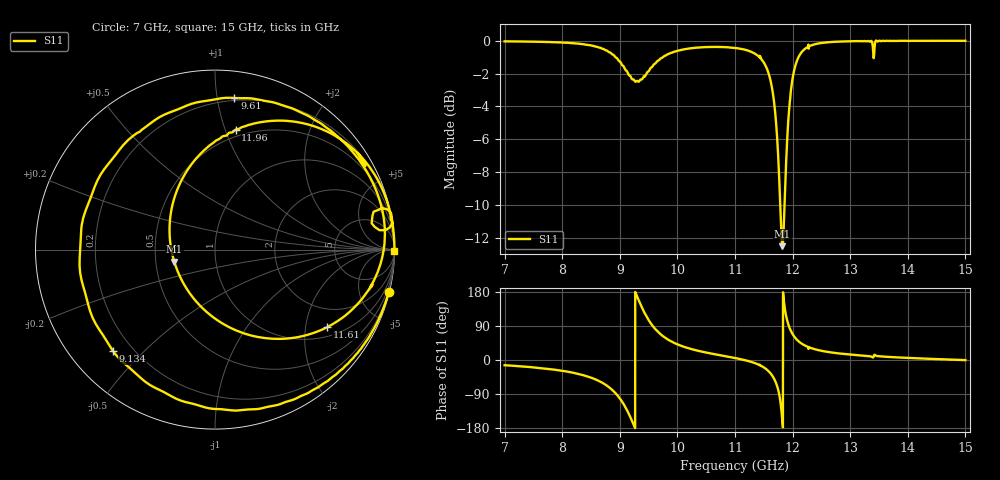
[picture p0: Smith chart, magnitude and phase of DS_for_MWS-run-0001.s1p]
! TOUCHSTONE file generated by CST DESIGN STUDIO
! Date and time: Mon Feb 10 16:48:54 2025
! Project name: C:\Work\MatlabApps\UnitCellType2OptimizationMatlab\CST\unitcell.cst
! Tree item: Tasks\Sweep1\SPara1\S-Parameters
! Header version: 2024
! Port assignment regex: !\s*Touchstone port\s*([0-9]+)\s*=\s*(CST MWS port|CST DES external port|CST DES block port)\s*(.+)\s* \(\"(.*)\"\)(\s*mode\s*([0-9]+))?.*
! Touchstone port assignment:
! Touchstone port 1 = CST DES external port 1 ("")
# GHz S MA R 50
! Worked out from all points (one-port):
!   4001 points, 7 GHz to 15 GHz, reference 50 ohm
!   lowest |S11| = -12.5 dB at 11.82 GHz (marker M1), VSWR 1.62, Z = 31.2 - j4.42 ohm
!   |S11| at or under -10 dB: 11.79 GHz to 11.86 GHz (74.49 MHz wide, 0.63 % of centre)
!   S11 on the Smith chart (normalised r, x): 7 GHz: 0.16, -8.28; 9.134 GHz: 0.13, -0.41; 9.61 GHz: 0.18, +1.12; 11.61 GHz: 1.29, -2.64; 11.96 GHz: 0.44, +1.09; 15 GHz: open
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7  0.9955 -13.8
8  0.987 -28.4
8.35  0.9761 -39.4
8.622  0.9555 -54.2
8.816  0.923 -72.0
9  0.8651 -101.0
9.134  0.8013 -135.1
9.228  0.7625 -165.7
9.32  0.7509 160.6
9.456  0.7901 117.2
9.61  0.8514 82.7
9.792  0.9004 58.2
10  0.9324 41.3
10.388  0.9542 23.3
11  0.9506 5.3
11.41  0.896 -12.1
11.614  0.7601 -34.7
11.734  0.4988 -70.2
11.778  0.3428 -99.6
11.824  0.2369 -163.6
11.88  0.395 122.1
11.96  0.6784 80.2
12  0.768 68.4
12.122  0.9041 47.0
12.29  0.962 33.1
13  0.9961 14.3
14  0.9988 5.6
15  0.9995 -0.4
